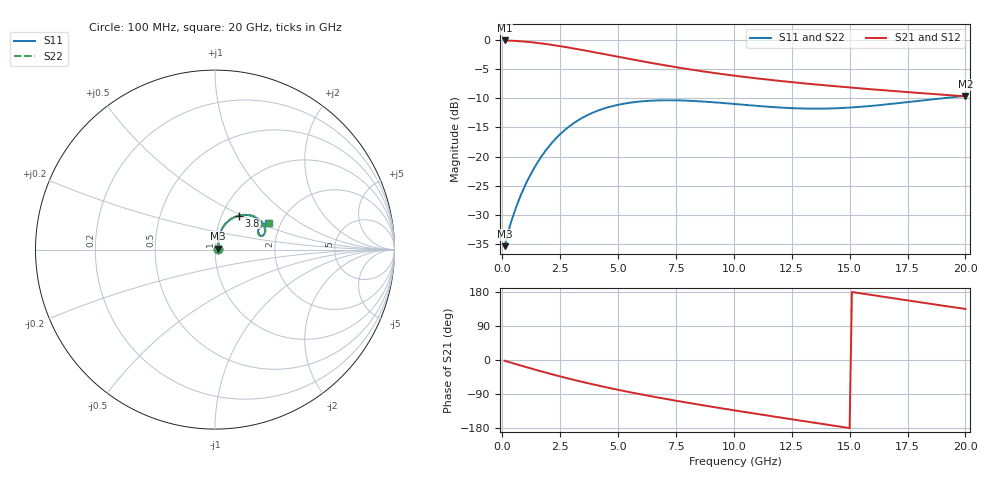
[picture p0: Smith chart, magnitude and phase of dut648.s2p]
! Touchstone file exported from HFSS 2024.1.0
!  File:  C:/UserFiles/LocalFiles/RDL_TSV_Batchsim/temp_RDL_TSV_648_1779808676.aedt
!  Generated:  11:35:14 PM May 26, 2026
!  Design:  RDL_TSV
!  Project:  temp_RDL_TSV_648_1779808676
!  Setup:  Setup1
!  Solution:  Sweep
! Variables:
!  dtsv = 8.06um
!  hbump = 3um
!  htsv = 57.46um
!  ldown = 513.13um
!  lrdl = 505.66um
!  p = 40
!  p1 = 51.08um
!  rhole = 10um
!  subl = 3562.03um
!  t = 450um
!  tdown = 3.8um
!  trdl = 4.08um
!  viad = 10um
!  wdown = 18.43um
!  wrdl = 24.22um
!  xbump = 18um
# GHz S MA R 50.000000
! Terminal data exported
! Port[1] = TM1_1_T1
! Port[2] = TM1_4_T1
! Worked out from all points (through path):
!   200 points, 100 MHz to 20 GHz, reference 50 ohm
!   highest |S21| = -0.14 dB at 100 MHz (marker M1); lowest = -9.7 dB at 20 GHz (marker M2)
!   group delay of S21, straight-line fit = 29.6 ps
!   lowest |S11| = -35.3 dB at 100 MHz (marker M3), VSWR 1.03, Z = 51.6 + j0.631 ohm
!   |S11| at or under -10 dB: start of sweep to 19.01 GHz
!   |S22| runs from -35.3 to -9.6 dB; largest |S21 - S12| = 2.9e-14
!   S11 on the Smith chart (normalised r, x): 100 MHz: 1.03, +0.01; 3.8 GHz: 1.21, +0.48; 20 GHz: 1.72, +0.57
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0.1  0.01719 20.8  0.9837 -1.9  0.9837 -1.9  0.01718 20.8
! Gamma 0 0 0 0
! Port Impedance 50 0 50 0
0.4  0.02842 50.2  0.9786 -7.4  0.9786 -7.4  0.02842 50.2
0.7  0.04182 62.6  0.971 -12.9  0.971 -12.9  0.04181 62.7
1.1  0.06318 70.3  0.9568 -20.0  0.9568 -20.0  0.06318 70.4
1.5  0.08787 72.6  0.9382 -26.9  0.9382 -26.9  0.08792 72.7
1.9  0.1146 71.8  0.9163 -33.7  0.9163 -33.7  0.1148 72.0
2.4  0.1489 68.6  0.8857 -41.8  0.8857 -41.8  0.1492 68.7
2.9  0.1818 63.9  0.853 -49.6  0.853 -49.6  0.1822 64.1
3.5  0.217 57.7  0.8124 -58.4  0.8124 -58.4  0.2177 57.9
3.8  0.2324 54.5  0.7921 -62.7  0.7921 -62.7  0.2331 54.7
4.5  0.2618 47.4  0.7456 -72.2  0.7456 -72.2  0.2628 47.6
5.3  0.2847 39.9  0.6955 -82.4  0.6955 -82.4  0.2861 40.2
6  0.2966 34.3  0.6553 -90.8  0.6553 -90.8  0.2982 34.5
6.8  0.3026 28.7  0.6139 -99.9  0.6139 -99.9  0.3045 28.9
8.4  0.298 20.8  0.5452 -116.8  0.5452 -116.8  0.3004 21.0
10.1  0.2811 16.7  0.4898 -133.7  0.4898 -133.7  0.2839 16.8
11.7  0.2652 16.7  0.4498 -148.9  0.4498 -148.9  0.2681 16.6
13.4  0.2572 19.7  0.4162 -164.8  0.4162 -164.8  0.26 19.5
15  0.2626 23.6  0.3902 -179.7  0.3902 -179.7  0.265 23.3
16.7  0.281 26.7  0.3663 164.6  0.3663 164.6  0.2829 26.2
18.4  0.3066 27.5  0.3453 149.1  0.3453 149.1  0.308 27.1
20  0.3312 26.5  0.3276 134.6  0.3276 134.6  0.3321 26.0
